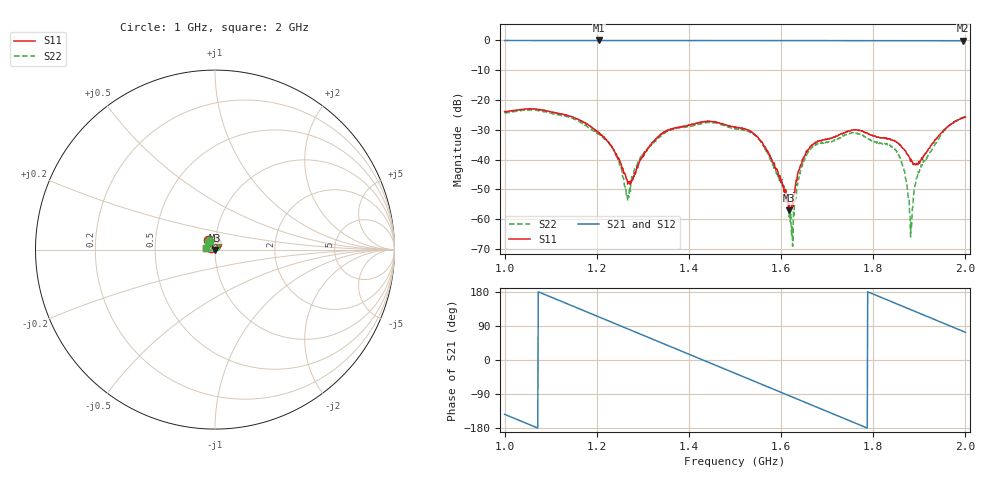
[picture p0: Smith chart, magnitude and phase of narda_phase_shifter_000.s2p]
#  HZ  S  DB  R  50.00
! Rohde & Schwarz Vector Network Analyzer
! Rohde-Schwarz,ZNB8-4Port,1311601044102961,2.82
! Created: UTC 3/4/2022, 4:03:54 PM
! freq[Hz]  db:S11  ang:S11  db:S21  ang:S21  db:S12  ang:S12  db:S22  ang:S22
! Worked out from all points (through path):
!   1001 points, 1 GHz to 2 GHz, reference 50 ohm
!   highest |S21| = -0.13 dB at 1.204 GHz (marker M1); lowest = -0.2 dB at 1.994 GHz (marker M2)
!   group delay of S21, straight-line fit = 1.4 ns
!   lowest |S11| = -57.0 dB at 1.617 GHz (marker M3), VSWR 1.00, Z = 50 - j0.14 ohm
!   |S11| at or under -10 dB: start of sweep to end of sweep
!   |S22| runs from -69.0 to -23.3 dB; largest |S21 - S12| = 0.0023
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1e9  -23.97 126.6  -0.15 -143.4  -0.13 -143.4  -24.43 126.0
1.083e9  -23.50 82.3  -0.15 174.9  -0.15 174.9  -23.95 84.0
1.167e9  -27.15 35.9  -0.14 132.7  -0.14 132.7  -27.63 40.9
1.204e9  -31.11 21.0  -0.13 114.0  -0.14 114.0  -31.41 14.2
1.241e9  -38.51 -9.4  -0.15 95.4  -0.14 95.4  -37.73 -12.3
1.268e9  -47.59 -101.9  -0.15 81.7  -0.14 81.8  -51.95 -109.0
1.291e9  -41.38 168.1  -0.15 70.1  -0.15 70.1  -40.39 -169.7
1.334e9  -32.22 140.7  -0.15 48.5  -0.15 48.5  -32.80 148.5
1.417e9  -27.84 92.1  -0.15 6.7  -0.17 6.8  -28.46 104.8
1.5e9  -29.10 48.0  -0.17 -35.0  -0.17 -35.0  -29.69 59.7
1.558e9  -34.19 13.2  -0.17 -64.2  -0.16 -64.3  -34.56 33.6
1.617e9  -57.01 -81.3  -0.18 -94.0  -0.18 -93.9  -59.15 -36.2
1.625e9  -53.13 -155.1  -0.18 -98.0  -0.17 -98.0  -68.99 -92.0
1.642e9  -41.98 170.9  -0.18 -106.6  -0.18 -106.6  -43.83 161.1
1.667e9  -35.03 148.6  -0.19 -119.1  -0.18 -119.1  -35.83 154.3
1.753e9  -30.20 93.3  -0.21 -162.5  -0.20 -162.4  -31.00 113.0
1.834e9  -33.08 38.1  -0.21 156.8  -0.21 156.8  -35.18 72.5
1.863e9  -36.00 4.9  -0.22 142.2  -0.22 142.2  -41.52 62.5
1.882e9  -39.92 -30.4  -0.22 132.6  -0.22 132.6  -61.07 -47.8
1.906e9  -39.98 -98.4  -0.22 120.5  -0.22 120.5  -41.97 -126.0
1.994e9  -26.18 174.2  -0.25 76.1  -0.24 76.1  -25.90 173.4
2e9  -25.76 170.8  -0.24 73.1  -0.24 73.1  -25.58 170.4
